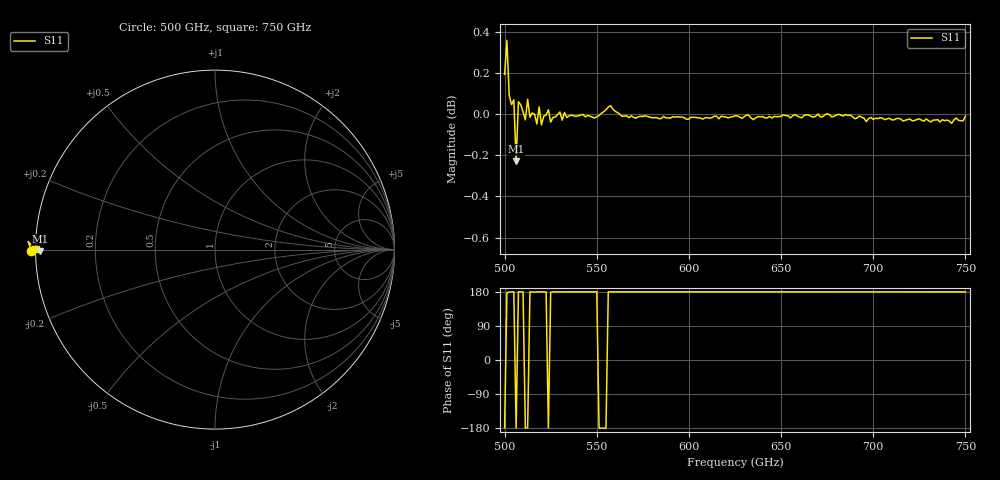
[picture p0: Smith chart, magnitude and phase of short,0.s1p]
!Created with mwavepy.
# GHz S RI R 50.0
!freq	ReS11	ImS11
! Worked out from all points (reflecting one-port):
!   201 points, 500 GHz to 750 GHz, reference 50 ohm
!   lowest |S11| = -0.2 dB at 506.2 GHz (marker M1), VSWR 75.77, Z = 0.66 - j0.237 ohm
!   phase of S11 starts at -179 deg and turns -1 deg over the sweep
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500  -1.022 -0.00965
! Port Impedance 50.00000000000000 0.00000000000000
501.25  -1.041 0.0455
502.5  -1.01 0.0118
505  -1.008 0.00296
506.25  -0.9739 -0.00925
507.5  -1.007 0.000864
510  -1.001 0.0106
511.25  -0.9968 -0.00534
512.5  -1.008 -0.0199
513.75  -0.9982 0.00368
515  -1.001 0.00291
516.25  -0.9997 0.0205
517.5  -0.9945 0.00266
518.75  -1.004 0.00447
520  -0.9939 0.00916
523.75  -1.002 -0.00192
525  -0.9953 0.0209
526.25  -0.9981 0.00432
531.25  -0.9966 0.00451
553.75  -1.001 -0.00125
560  -1.002 0.00699
562.5  -0.9999 0.00396
593.75  -0.9985 0.00395
625  -0.999 0.00342
656.25  -0.999 0.00491
687.5  -0.9994 0.00633
718.75  -0.997 0.00444
750  -0.9988 0.00389
